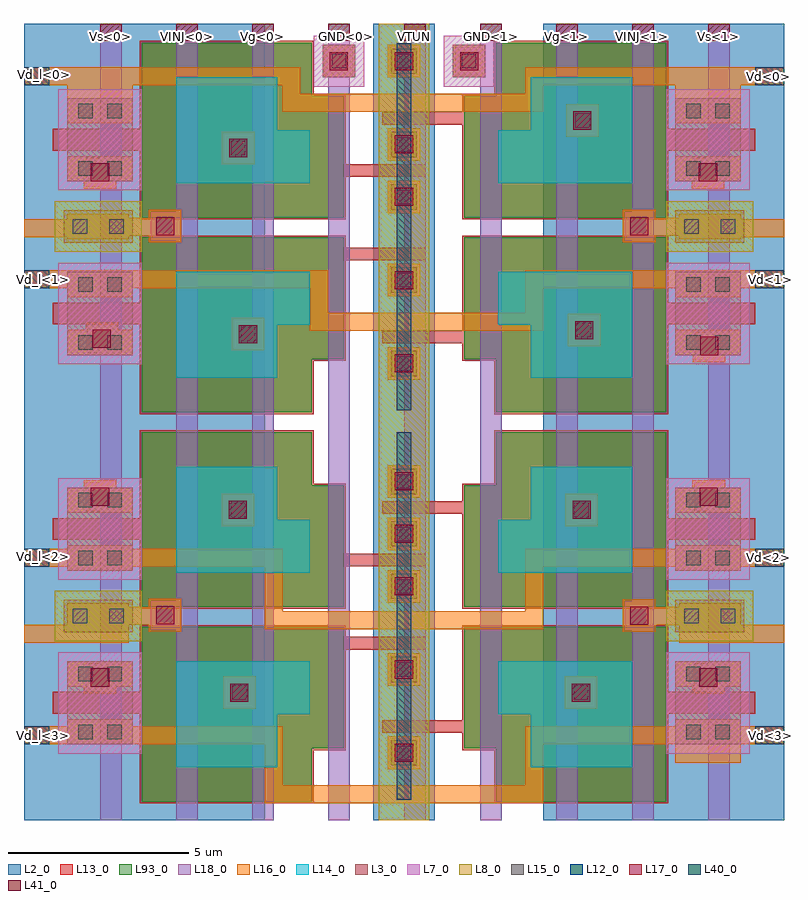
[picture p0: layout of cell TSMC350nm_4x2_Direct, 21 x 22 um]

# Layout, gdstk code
from math import pi, radians
import gdstk
lib = gdstk.Library(unit=1e-6, precision=1e-09)
def R(c, l, rs):  # rectangles x0, y0, x1, y1
    for r in rs: c.add(gdstk.rectangle(r[:2], r[2:], *l))
def A(c, l, x, y, w, h, nx, ny, dx, dy):  # array of equal rectangles
    R(c, l, [(x+i*dx, y+j*dy, x+i*dx+w, y+j*dy+h) for i in range(nx) for j in range(ny)])
L2_0 = (2, 0)
L3_0 = (3, 0)
L7_0 = (7, 0)
L8_0 = (8, 0)
L12_0 = (12, 0)
L13_0 = (13, 0)
L14_0 = (14, 0)
L15_0 = (15, 0)
L16_0 = (16, 0)
L17_0 = (17, 0)
L18_0 = (18, 0)
L40_0 = (40, 0)
L41_0 = (41, 0)
L93_0 = (93, 0)

pch_cdns_739479361470 = lib.new_cell('pch_CDNS_739479361470')
R(pch_cdns_739479361470, L2_0, [(-2.05,-1.2,2.65,3)])
R(pch_cdns_739479361470, L3_0, [(-0.85,0,-0.15,1.8), (-0.85,0,-0.15,1.8), (-0.15,0,0.75,1.8), (0.75,0,1.45,1.8), (0.75,0,1.45,1.8)])
R(pch_cdns_739479361470, L7_0, [(-1.1,-0.25,1.7,2.05)])
R(pch_cdns_739479361470, L13_0, [(0,-0.4,0.6,2.2)])
R(pch_cdns_739479361470, L15_0, [(-0.7,0.3,-0.3,0.7), (0.9,0.3,1.3,0.7), (-0.7,1.1,-0.3,1.5), (0.9,1.1,1.3,1.5)])
R(pch_cdns_739479361470, L16_0, [(-0.85,0,-0.15,1.8), (0.75,0,1.45,1.8)])
pch_cdns_739479361470.add(gdstk.Label('S', (1.1,0.9), layer=59, texttype=0))
pch_cdns_739479361470.add(gdstk.Label('D', (-0.5,0.9), layer=59, texttype=0))
pch_cdns_739479361470.add(gdstk.Label('G', (0.3,0.9), layer=59, texttype=0))
pch_cdns_739479361470.add(gdstk.Label('& SerialNumber 000000', (0,0), layer=16, texttype=0))
pch_cdns_739479361470.add(gdstk.Label('& Distributor VIS', (0,0), layer=16, texttype=0))
pch_cdns_739479361470.add(gdstk.Label('& Metric 1', (0,0), layer=16, texttype=0))
pch_cdns_739479361470.add(gdstk.Label('& Version    \t  1.7A', (0,0), layer=16, texttype=0))
pch_cdns_739479361470.add(gdstk.Label('& PDKName     vis35cv', (0,0), layer=16, texttype=0))
pch_cdns_739479361470.add(gdstk.Label('& Vendor VIS Corp.', (0,0), layer=16, texttype=0))
pch_cdns_739479361470.add(gdstk.Label('& SerialNumber 000000', (0,0), layer=63, texttype=63))
pch_cdns_739479361470.add(gdstk.Label('& Distributor VIS', (0,0), layer=63, texttype=63))
pch_cdns_739479361470.add(gdstk.Label('& Metric 1', (0,0), layer=63, texttype=63))
pch_cdns_739479361470.add(gdstk.Label('& Version    \t  1.7A', (0,0), layer=63, texttype=63))
pch_cdns_739479361470.add(gdstk.Label('& PDKName     vis35cv', (0,0), layer=63, texttype=63))
pch_cdns_739479361470.add(gdstk.Label('& Vendor VIS Corp.', (0,0), layer=63, texttype=63))

pch_cdns_739479361471 = lib.new_cell('pch_CDNS_739479361471')
R(pch_cdns_739479361471, L2_0, [(-2.05,-1.2,2.65,3)])
R(pch_cdns_739479361471, L3_0, [(-0.85,0,-0.15,1.8), (-0.85,0,-0.15,1.8), (-0.15,0,0.75,1.8), (0.75,0,1.45,1.8), (0.75,0,1.45,1.8)])
R(pch_cdns_739479361471, L7_0, [(-1.1,-0.25,1.7,2.05)])
R(pch_cdns_739479361471, L13_0, [(0,-0.4,0.6,2.2)])
R(pch_cdns_739479361471, L15_0, [(-0.7,0.3,-0.3,0.7), (0.9,0.3,1.3,0.7), (-0.7,1.1,-0.3,1.5), (0.9,1.1,1.3,1.5)])
R(pch_cdns_739479361471, L16_0, [(-0.85,0,-0.15,1.8), (0.75,0,1.45,1.8)])
pch_cdns_739479361471.add(gdstk.Label('D', (1.1,0.9), layer=59, texttype=0))
pch_cdns_739479361471.add(gdstk.Label('S', (-0.5,0.9), layer=59, texttype=0))
pch_cdns_739479361471.add(gdstk.Label('G', (0.3,0.9), layer=59, texttype=0))
pch_cdns_739479361471.add(gdstk.Label('& SerialNumber 000000', (0,0), layer=16, texttype=0))
pch_cdns_739479361471.add(gdstk.Label('& Distributor VIS', (0,0), layer=16, texttype=0))
pch_cdns_739479361471.add(gdstk.Label('& Metric 1', (0,0), layer=16, texttype=0))
pch_cdns_739479361471.add(gdstk.Label('& Version    \t  1.7A', (0,0), layer=16, texttype=0))
pch_cdns_739479361471.add(gdstk.Label('& PDKName     vis35cv', (0,0), layer=16, texttype=0))
pch_cdns_739479361471.add(gdstk.Label('& Vendor VIS Corp.', (0,0), layer=16, texttype=0))
pch_cdns_739479361471.add(gdstk.Label('& SerialNumber 000000', (0,0), layer=63, texttype=63))
pch_cdns_739479361471.add(gdstk.Label('& Distributor VIS', (0,0), layer=63, texttype=63))
pch_cdns_739479361471.add(gdstk.Label('& Metric 1', (0,0), layer=63, texttype=63))
pch_cdns_739479361471.add(gdstk.Label('& Version    \t  1.7A', (0,0), layer=63, texttype=63))
pch_cdns_739479361471.add(gdstk.Label('& PDKName     vis35cv', (0,0), layer=63, texttype=63))
pch_cdns_739479361471.add(gdstk.Label('& Vendor VIS Corp.', (0,0), layer=63, texttype=63))

m1_poly1_cdns_7394793614 = lib.new_cell('M1_POLY1_CDNS_739479361470')
R(m1_poly1_cdns_7394793614, L13_0, [(-0.4,-0.4,0.4,0.4)])
R(m1_poly1_cdns_7394793614, L15_0, [(-0.2,-0.2,0.2,0.2)])
R(m1_poly1_cdns_7394793614, L16_0, [(-0.45,-0.45,0.45,0.45)])

m2_m1_cdns_739479361471 = lib.new_cell('M2_M1_CDNS_739479361471')
R(m2_m1_cdns_739479361471, L16_0, [(-0.45,-0.45,0.45,0.45)])
R(m2_m1_cdns_739479361471, L17_0, [(-0.25,-0.25,0.25,0.25)])
R(m2_m1_cdns_739479361471, L18_0, [(-0.4,-0.4,0.4,0.4)])

m1_pactive_cdns_73947936 = lib.new_cell('M1_PACTIVE_CDNS_739479361472')
R(m1_pactive_cdns_73947936, L3_0, [(-0.45,-0.45,0.45,0.45)])
R(m1_pactive_cdns_73947936, L7_0, [(-0.7,-0.7,0.7,0.7)])
R(m1_pactive_cdns_73947936, L15_0, [(-0.2,-0.2,0.2,0.2)])
R(m1_pactive_cdns_73947936, L16_0, [(-0.35,-0.35,0.35,0.35)])

m1_nactive_cdns_73947936 = lib.new_cell('M1_NACTIVE_CDNS_739479361473')
R(m1_nactive_cdns_73947936, L3_0, [(-0.95,-0.45,0.95,0.45)])
R(m1_nactive_cdns_73947936, L8_0, [(-1.2,-0.7,1.2,0.7)])
R(m1_nactive_cdns_73947936, L15_0, [(-0.7,-0.2,-0.3,0.2), (0.3,-0.2,0.7,0.2)])
R(m1_nactive_cdns_73947936, L16_0, [(-0.85,-0.35,0.85,0.35)])

tsmc350nm_4x2_direct = lib.new_cell('TSMC350nm_4x2_Direct')
R(tsmc350nm_4x2_direct, L2_0, [(0,0,6.65,0.89), (9.65,0,11.35,11.02), (14.35,0,21,0.89), (4,0.89,6.65,10.39), (14.35,0.89,17,10.39), (0,5.59,4.2,5.69), (16.8,5.59,21,5.69), (0,10.39,6.65,11.02), (14.35,10.39,21,11.02), (0,11.02,6.65,11.65), (9.65,11.02,11.35,22), (14.35,11.02,21,11.65), (4,11.65,6.65,21.15), (14.35,11.65,17,21.15), (0,16.35,4.2,16.45), (16.8,16.35,21,16.45), (0,21.15,6.65,22), (14.35,21.15,21,22)])
A(tsmc350nm_4x2_direct, L3_0, 10.15, 1.51, 0.7, 0.7, 1, 3, 0, 2.3)
A(tsmc350nm_4x2_direct, L3_0, 10.15, 12.27, 0.7, 0.7, 1, 3, 0, 2.3)
R(tsmc350nm_4x2_direct, L3_0, [(10.15,7.56,10.85,8.26), (10.15,9.01,10.85,9.71), (10.15,18.32,10.85,19.02), (10.15,20.62,10.85,21.32)])
R(tsmc350nm_4x2_direct, L8_0, [(9.8,0,11.2,11.02), (9.8,11.02,11.2,22)])
R(tsmc350nm_4x2_direct, L12_0, [(10.3,0.56,10.7,10.71), (10.3,11.32,10.7,21.47)])
A(tsmc350nm_4x2_direct, L13_0, 3.2, 0.46, 4.8, 4.93, 1, 4, 0, 5.38)
A(tsmc350nm_4x2_direct, L13_0, 13, 0.46, 4.8, 4.93, 1, 4, 0, 5.38)
R(tsmc350nm_4x2_direct, L13_0, [(16.55,0.46,17.8,5.39), (16.55,0.46,17.8,5.39), (8,1.93,8.89,5.39), (12.11,1.93,13,5.39), (9.9,2.41,14.45,2.76), (6.55,4.71,11.1,5.06), (8,5.84,8.89,9.3), (12.11,5.84,13,9.3), (6.55,7.01,11.1,7.36), (9.9,8.46,14.45,8.81), (16.55,11.22,17.8,16.15), (8,12.69,8.89,16.15), (12.11,12.69,13,16.15), (9.9,13.17,14.45,13.52), (6.55,15.47,11.1,15.82), (8,16.6,8.89,20.06), (12.11,16.6,13,20.06), (6.55,17.77,11.1,18.12), (9.9,19.22,14.45,19.57)])
A(tsmc350nm_4x2_direct, L14_0, 4.2, 1.46, 2.8, 2.93, 1, 4, 0, 5.38)
A(tsmc350nm_4x2_direct, L14_0, 14, 1.46, 2.8, 2.93, 1, 4, 0, 5.38)
R(tsmc350nm_4x2_direct, L14_0, [(7,2.93,7.89,4.39), (13.11,2.93,14,4.39), (7,6.84,7.89,8.3), (13.11,6.84,14,8.3), (7,13.69,7.89,15.15), (13.11,13.69,14,15.15), (7,17.6,7.89,19.06), (13.11,17.6,14,19.06)])
A(tsmc350nm_4x2_direct, L15_0, 10.3, 1.66, 0.4, 0.4, 1, 3, 0, 2.3)
A(tsmc350nm_4x2_direct, L15_0, 10.3, 12.42, 0.4, 0.4, 1, 3, 0, 2.3)
R(tsmc350nm_4x2_direct, L15_0, [(10.3,7.71,10.7,8.11), (10.3,9.16,10.7,9.56), (10.3,18.47,10.7,18.87), (10.3,20.77,10.7,21.17)])
R(tsmc350nm_4x2_direct, L16_0, [(10.05,1.41,10.95,2.31), (10.05,1.41,10.95,2.31), (18,1.59,19.8,2.09), (10.05,3.71,10.95,4.61), (10.05,3.71,10.95,4.61), (10.05,6.01,10.95,6.91), (10.05,6.01,10.95,6.91), (10.05,7.46,10.95,8.36), (10.05,7.46,10.95,8.36), (10.05,8.91,10.95,9.81), (10.05,8.91,10.95,9.81), (10.05,12.17,10.95,13.07), (10.05,12.17,10.95,13.07), (10.05,14.47,10.95,15.37), (10.05,14.47,10.95,15.37), (10.05,16.77,10.95,17.67), (10.05,16.77,10.95,17.67), (10.05,18.22,10.95,19.12), (10.05,18.22,10.95,19.12), (1.2,19.95,3,20.4), (18,19.95,19.8,20.4), (10.05,20.52,10.95,21.42), (10.05,20.52,10.95,21.42)])
A(tsmc350nm_4x2_direct, L17_0, 10.25, 1.61, 0.5, 0.5, 1, 3, 0, 2.3)
A(tsmc350nm_4x2_direct, L17_0, 10.25, 12.37, 0.5, 0.5, 1, 3, 0, 2.3)
R(tsmc350nm_4x2_direct, L17_0, [(10.25,7.66,10.75,8.16), (10.25,9.11,10.75,9.61), (10.25,18.42,10.75,18.92), (10.25,20.72,10.75,21.22)])
A(tsmc350nm_4x2_direct, L18_0, 10.1, 1.46, 0.8, 0.8, 1, 3, 0, 2.3)
A(tsmc350nm_4x2_direct, L18_0, 10.1, 12.22, 0.8, 0.8, 1, 3, 0, 2.3)
R(tsmc350nm_4x2_direct, L18_0, [(10.1,7.51,10.9,8.31), (10.1,8.96,10.9,9.76), (10.1,18.27,10.9,19.07), (10.1,20.57,10.9,21.37)])
R(tsmc350nm_4x2_direct, L40_0, [(0,2.1,0.7,2.6), (20.2,2.1,21,2.6), (0,7,0.7,7.5), (20.2,7,21,7.5), (0,14.7,0.7,15.2), (20.2,14.7,21,15.2), (0,20.3,0.7,20.8), (20.2,20.3,21,20.8)])
A(tsmc350nm_4x2_direct, L41_0, 2.1, 21.53, 0.6, 0.47, 9, 1, 2.1, 0)
A(tsmc350nm_4x2_direct, L93_0, 3.25, 0.51, 4.7, 4.83, 1, 4, 0, 5.38)
A(tsmc350nm_4x2_direct, L93_0, 13.05, 0.51, 4.7, 4.83, 1, 4, 0, 5.38)
R(tsmc350nm_4x2_direct, L93_0, [(7.95,1.98,8.84,5.34), (12.16,1.98,13.05,5.34), (7.95,5.89,8.84,9.25), (12.16,5.89,13.05,9.25), (7.95,12.74,8.84,16.1), (12.16,12.74,13.05,16.1), (7.95,16.65,8.84,20.01), (12.16,16.65,13.05,20.01)])
tsmc350nm_4x2_direct.add(gdstk.FlexPath([(18.1,5.15),(21,5.15)], 0.5, ends="flush", simple_path=True, layer=16, datatype=0))  # L16_0
tsmc350nm_4x2_direct.add(gdstk.FlexPath([(17,16.4),(17,16.41)], 0.5, ends=(0.25, 0), simple_path=True, layer=16, datatype=0))  # L16_0
tsmc350nm_4x2_direct.add(gdstk.FlexPath([(18.95,16.4),(17,16.4)], 0.5, ends=(0, 0.25), simple_path=True, layer=16, datatype=0))  # L16_0
tsmc350nm_4x2_direct.add(gdstk.FlexPath([(17,5.64),(17,5.65)], 0.5, ends=(0.25, 0), simple_path=True, layer=16, datatype=0))  # L16_0
tsmc350nm_4x2_direct.add(gdstk.FlexPath([(3.9,5.65),(3.9,5.66)], 0.5, ends=(0.25, 0), simple_path=True, layer=16, datatype=0))  # L16_0
tsmc350nm_4x2_direct.add(gdstk.FlexPath([(18.95,5.64),(17,5.64)], 0.5, ends=(0, 0.25), simple_path=True, layer=16, datatype=0))  # L16_0
tsmc350nm_4x2_direct.add(gdstk.FlexPath([(18.09,16.35),(21,16.35)], 0.5, ends="flush", simple_path=True, layer=16, datatype=0))  # L16_0
tsmc350nm_4x2_direct.add(gdstk.FlexPath([(13.92,2.35),(14.1,2.35)], 0.5, ends=(0, 0.25), simple_path=True, layer=16, datatype=0))  # L16_0
tsmc350nm_4x2_direct.add(gdstk.FlexPath([(13.92,14.95),(21,14.95)], 0.5, ends="flush", simple_path=True, layer=16, datatype=0))  # L16_0
tsmc350nm_4x2_direct.add(gdstk.FlexPath([(6.9,0.71),(14.1,0.71)], 0.5, ends="extended", simple_path=True, layer=16, datatype=0))  # L16_0
tsmc350nm_4x2_direct.add(gdstk.FlexPath([(14.1,0.71),(14.1,2.35)], 0.5, ends="extended", simple_path=True, layer=16, datatype=0))  # L16_0
tsmc350nm_4x2_direct.add(gdstk.FlexPath([(6.9,2.35),(6.9,0.71)], 0.5, ends="extended", simple_path=True, layer=16, datatype=0))  # L16_0
tsmc350nm_4x2_direct.add(gdstk.FlexPath([(8.15,13.77),(14.1,13.77)], 0.5, ends="extended", simple_path=True, layer=16, datatype=0))  # L16_0
tsmc350nm_4x2_direct.add(gdstk.FlexPath([(14.1,13.77),(14.1,14.95)], 0.5, ends="extended", simple_path=True, layer=16, datatype=0))  # L16_0
tsmc350nm_4x2_direct.add(gdstk.FlexPath([(8.15,14.95),(8.15,13.77)], 0.5, ends="extended", simple_path=True, layer=16, datatype=0))  # L16_0
tsmc350nm_4x2_direct.add(gdstk.FlexPath([(6.9,5.52),(14.1,5.52)], 0.5, ends="extended", simple_path=True, layer=16, datatype=0))  # L16_0
tsmc350nm_4x2_direct.add(gdstk.FlexPath([(6.9,7.25),(6.9,5.52)], 0.5, ends="extended", simple_path=True, layer=16, datatype=0))  # L16_0
tsmc350nm_4x2_direct.add(gdstk.FlexPath([(14.1,7.25),(21,7.25)], 0.5, ends=(0.25, 0), simple_path=True, layer=16, datatype=0))  # L16_0
tsmc350nm_4x2_direct.add(gdstk.FlexPath([(14.1,5.52),(14.1,7.25)], 0.5, ends="extended", simple_path=True, layer=16, datatype=0))  # L16_0
tsmc350nm_4x2_direct.add(gdstk.FlexPath([(6.9,7.25),(0,7.25)], 0.5, ends=(0.25, 0), simple_path=True, layer=16, datatype=0))  # L16_0
tsmc350nm_4x2_direct.add(gdstk.FlexPath([(7.38,19.82),(14.1,19.82)], 0.5, ends="extended", simple_path=True, layer=16, datatype=0))  # L16_0
tsmc350nm_4x2_direct.add(gdstk.FlexPath([(7.38,20.55),(7.38,19.82)], 0.5, ends="extended", simple_path=True, layer=16, datatype=0))  # L16_0
tsmc350nm_4x2_direct.add(gdstk.FlexPath([(14.1,19.82),(14.1,20.55)], 0.5, ends="extended", simple_path=True, layer=16, datatype=0))  # L16_0
tsmc350nm_4x2_direct.add(gdstk.FlexPath([(14.1,20.55),(21,20.55)], 0.5, ends=(0.25, 0), simple_path=True, layer=16, datatype=0))  # L16_0
tsmc350nm_4x2_direct.add(gdstk.FlexPath([(7.38,20.55),(0,20.55)], 0.5, ends=(0.25, 0), simple_path=True, layer=16, datatype=0))  # L16_0
tsmc350nm_4x2_direct.add(gdstk.FlexPath([(0,2.35),(6.66,2.35)], 0.5, ends="flush", simple_path=True, layer=16, datatype=0))  # L16_0
tsmc350nm_4x2_direct.add(gdstk.FlexPath([(0,14.95),(8.15,14.95)], 0.5, ends=(0, 0.25), simple_path=True, layer=16, datatype=0))  # L16_0
tsmc350nm_4x2_direct.add(gdstk.FlexPath([(14.1,2.35),(21,2.35)], 0.5, ends=(0.25, 0), simple_path=True, layer=16, datatype=0))  # L16_0
tsmc350nm_4x2_direct.add(gdstk.FlexPath([(0,5.15),(2.9,5.15)], 0.5, ends="flush", simple_path=True, layer=16, datatype=0))  # L16_0
tsmc350nm_4x2_direct.add(gdstk.FlexPath([(0,16.35),(2.9,16.35)], 0.5, ends="flush", simple_path=True, layer=16, datatype=0))  # L16_0
tsmc350nm_4x2_direct.add(gdstk.FlexPath([(3.9,16.4),(3.9,16.41)], 0.5, ends=(0.25, 0), simple_path=True, layer=16, datatype=0))  # L16_0
tsmc350nm_4x2_direct.add(gdstk.FlexPath([(2.05,16.4),(3.9,16.4)], 0.5, ends=(0, 0.25), simple_path=True, layer=16, datatype=0))  # L16_0
tsmc350nm_4x2_direct.add(gdstk.FlexPath([(2.05,5.65),(3.9,5.65)], 0.5, ends=(0, 0.25), simple_path=True, layer=16, datatype=0))  # L16_0
tsmc350nm_4x2_direct.add(gdstk.FlexPath([(8.15,14.95),(8.18,14.95)], 0.5, ends=(0.25, 0), simple_path=True, layer=16, datatype=0))  # L16_0
tsmc350nm_4x2_direct.add(gdstk.FlexPath([(19.2,0),(19.2,22)], 0.6, ends="flush", simple_path=True, layer=18, datatype=0))  # L18_0
tsmc350nm_4x2_direct.add(gdstk.FlexPath([(17.1,0),(17.1,22)], 0.6, ends="flush", simple_path=True, layer=18, datatype=0))  # L18_0
tsmc350nm_4x2_direct.add(gdstk.FlexPath([(15,0),(15,22)], 0.6, ends="flush", simple_path=True, layer=18, datatype=0))  # L18_0
tsmc350nm_4x2_direct.add(gdstk.FlexPath([(12.9,22),(12.9,0)], 0.6, ends="flush", simple_path=True, layer=18, datatype=0))  # L18_0
tsmc350nm_4x2_direct.add(gdstk.FlexPath([(10.8,22),(10.8,0)], 0.6, ends="flush", simple_path=True, layer=18, datatype=0))  # L18_0
tsmc350nm_4x2_direct.add(gdstk.FlexPath([(8.7,22),(8.7,0)], 0.6, ends="flush", simple_path=True, layer=18, datatype=0))  # L18_0
tsmc350nm_4x2_direct.add(gdstk.FlexPath([(6.6,0),(6.6,22)], 0.6, ends="flush", simple_path=True, layer=18, datatype=0))  # L18_0
tsmc350nm_4x2_direct.add(gdstk.FlexPath([(4.5,0),(4.5,22)], 0.6, ends="flush", simple_path=True, layer=18, datatype=0))  # L18_0
tsmc350nm_4x2_direct.add(gdstk.FlexPath([(2.4,0),(2.4,22)], 0.6, ends="flush", simple_path=True, layer=18, datatype=0))  # L18_0
tsmc350nm_4x2_direct.add(gdstk.Reference(pch_cdns_739479361470, (19.8,7.74), rotation=pi/2))
tsmc350nm_4x2_direct.add(gdstk.Reference(pch_cdns_739479361470, (19.8,2.94), rotation=pi/2))
tsmc350nm_4x2_direct.add(gdstk.Reference(pch_cdns_739479361470, (1.2,7.74), rotation=pi/2, x_reflection=True))
tsmc350nm_4x2_direct.add(gdstk.Reference(pch_cdns_739479361470, (1.2,2.94), rotation=pi/2, x_reflection=True))
tsmc350nm_4x2_direct.add(gdstk.Reference(pch_cdns_739479361471, (19.8,13.7), rotation=pi/2))
tsmc350nm_4x2_direct.add(gdstk.Reference(pch_cdns_739479361471, (19.8,18.5), rotation=pi/2))
tsmc350nm_4x2_direct.add(gdstk.Reference(pch_cdns_739479361471, (1.2,18.5), rotation=pi/2, x_reflection=True))
tsmc350nm_4x2_direct.add(gdstk.Reference(pch_cdns_739479361471, (1.2,13.7), rotation=pi/2, x_reflection=True))
tsmc350nm_4x2_direct.add(gdstk.Reference(m1_poly1_cdns_7394793614, (5.95,3.52), rotation=pi, x_reflection=True))
tsmc350nm_4x2_direct.add(gdstk.Reference(m1_poly1_cdns_7394793614, (5.91,8.57), rotation=pi, x_reflection=True))
tsmc350nm_4x2_direct.add(gdstk.Reference(m1_poly1_cdns_7394793614, (15.39,3.52)))
tsmc350nm_4x2_direct.add(gdstk.Reference(m1_poly1_cdns_7394793614, (15.43,19.33)))
tsmc350nm_4x2_direct.add(gdstk.Reference(m1_poly1_cdns_7394793614, (15.48,13.54)))
tsmc350nm_4x2_direct.add(gdstk.Reference(m1_poly1_cdns_7394793614, (5.92,18.57), rotation=pi, x_reflection=True))
tsmc350nm_4x2_direct.add(gdstk.Reference(m1_poly1_cdns_7394793614, (6.19,13.43), rotation=pi, x_reflection=True))
tsmc350nm_4x2_direct.add(gdstk.Reference(m1_poly1_cdns_7394793614, (15.41,8.57)))
tsmc350nm_4x2_direct.add(gdstk.Reference(m2_m1_cdns_739479361471, (5.95,3.52), rotation=pi, x_reflection=True))
tsmc350nm_4x2_direct.add(gdstk.Reference(m2_m1_cdns_739479361471, (5.91,8.57), rotation=pi, x_reflection=True))
tsmc350nm_4x2_direct.add(gdstk.Reference(m2_m1_cdns_739479361471, (18.93,13.1)))
tsmc350nm_4x2_direct.add(gdstk.Reference(m2_m1_cdns_739479361471, (18.92,8.94)))
tsmc350nm_4x2_direct.add(gdstk.Reference(m2_m1_cdns_739479361471, (18.9,17.9)))
tsmc350nm_4x2_direct.add(gdstk.Reference(m2_m1_cdns_739479361471, (18.91,3.94)))
tsmc350nm_4x2_direct.add(gdstk.Reference(m2_m1_cdns_739479361471, (17,5.65)))
tsmc350nm_4x2_direct.add(gdstk.Reference(m2_m1_cdns_739479361471, (12.3,20.97)))
tsmc350nm_4x2_direct.add(gdstk.Reference(m2_m1_cdns_739479361471, (8.7,20.97)))
tsmc350nm_4x2_direct.add(gdstk.Reference(m2_m1_cdns_739479361471, (15.39,3.52)))
tsmc350nm_4x2_direct.add(gdstk.Reference(m2_m1_cdns_739479361471, (3.9,16.41), rotation=pi, x_reflection=True))
tsmc350nm_4x2_direct.add(gdstk.Reference(m2_m1_cdns_739479361471, (17,16.41)))
tsmc350nm_4x2_direct.add(gdstk.Reference(m2_m1_cdns_739479361471, (2.1,17.9), rotation=pi, x_reflection=True))
tsmc350nm_4x2_direct.add(gdstk.Reference(m2_m1_cdns_739479361471, (2.1,3.94), rotation=pi, x_reflection=True))
tsmc350nm_4x2_direct.add(gdstk.Reference(m2_m1_cdns_739479361471, (2.1,8.94), rotation=pi, x_reflection=True))
tsmc350nm_4x2_direct.add(gdstk.Reference(m2_m1_cdns_739479361471, (2.15,13.3), rotation=pi, x_reflection=True))
tsmc350nm_4x2_direct.add(gdstk.Reference(m2_m1_cdns_739479361471, (3.9,5.66), rotation=pi, x_reflection=True))
tsmc350nm_4x2_direct.add(gdstk.Reference(m2_m1_cdns_739479361471, (15.43,19.33)))
tsmc350nm_4x2_direct.add(gdstk.Reference(m2_m1_cdns_739479361471, (15.48,13.54)))
tsmc350nm_4x2_direct.add(gdstk.Reference(m2_m1_cdns_739479361471, (5.92,18.57), rotation=pi, x_reflection=True))
tsmc350nm_4x2_direct.add(gdstk.Reference(m2_m1_cdns_739479361471, (6.19,13.43), rotation=pi, x_reflection=True))
tsmc350nm_4x2_direct.add(gdstk.Reference(m2_m1_cdns_739479361471, (15.41,8.57)))
tsmc350nm_4x2_direct.add(gdstk.Reference(m1_pactive_cdns_73947936, (12.3,20.97)))
tsmc350nm_4x2_direct.add(gdstk.Reference(m1_pactive_cdns_73947936, (8.7,20.97)))
tsmc350nm_4x2_direct.add(gdstk.Reference(m1_nactive_cdns_73947936, (18.95,5.64)))
tsmc350nm_4x2_direct.add(gdstk.Reference(m1_nactive_cdns_73947936, (18.95,16.4)))
tsmc350nm_4x2_direct.add(gdstk.Reference(m1_nactive_cdns_73947936, (2.05,5.64), rotation=pi, x_reflection=True))
tsmc350nm_4x2_direct.add(gdstk.Reference(m1_nactive_cdns_73947936, (2.05,16.4), rotation=pi, x_reflection=True))
tsmc350nm_4x2_direct.add(gdstk.Label('Vd_l<0>', (0.57,20.6), layer=40, texttype=0))
tsmc350nm_4x2_direct.add(gdstk.Label('Vd_l<1>', (0.54,14.95), layer=40, texttype=0))
tsmc350nm_4x2_direct.add(gdstk.Label('Vd_l<2>', (0.54,7.28), layer=40, texttype=0))
tsmc350nm_4x2_direct.add(gdstk.Label('Vd_l<3>', (0.54,2.35), layer=40, texttype=0))
tsmc350nm_4x2_direct.add(gdstk.Label('Vd<3>', (20.64,2.35), layer=40, texttype=0))
tsmc350nm_4x2_direct.add(gdstk.Label('Vd<0>', (20.57,20.55), layer=40, texttype=0))
tsmc350nm_4x2_direct.add(gdstk.Label('Vd<2>', (20.57,7.25), layer=40, texttype=0))
tsmc350nm_4x2_direct.add(gdstk.Label('Vd<1>', (20.64,14.95), layer=40, texttype=0))
tsmc350nm_4x2_direct.add(gdstk.Label('GND<1>', (12.91,21.66), layer=41, texttype=0))
tsmc350nm_4x2_direct.add(gdstk.Label('Vg<1>', (15,21.66), layer=41, texttype=0))
tsmc350nm_4x2_direct.add(gdstk.Label('VINJ<1>', (17.1,21.66), layer=41, texttype=0))
tsmc350nm_4x2_direct.add(gdstk.Label('Vs<0>', (2.39,21.66), layer=41, texttype=0))
tsmc350nm_4x2_direct.add(gdstk.Label('Vg<0>', (6.6,21.66), layer=41, texttype=0))
tsmc350nm_4x2_direct.add(gdstk.Label('Vs<1>', (19.2,21.66), layer=41, texttype=0))
tsmc350nm_4x2_direct.add(gdstk.Label('VTUN', (10.8,21.66), layer=41, texttype=0))
tsmc350nm_4x2_direct.add(gdstk.Label('VINJ<0>', (4.53,21.65), layer=41, texttype=0))
tsmc350nm_4x2_direct.add(gdstk.Label('GND<0>', (8.9,21.66), layer=41, texttype=0))

lib.write_gds('TSMC350nm_4x2_Direct.gds')
